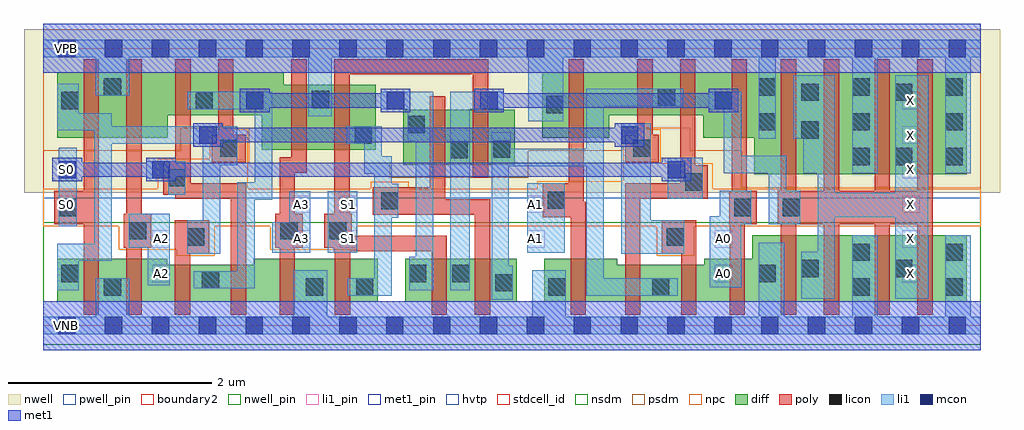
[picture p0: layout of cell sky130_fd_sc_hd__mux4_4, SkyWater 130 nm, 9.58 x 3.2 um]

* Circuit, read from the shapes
.subckt sky130_fd_sc_hd__mux4_4 A0 A1 A2 A3 S0 S1 VGND VNB VPB VPWR X
XM1 VGND S0 n1 VNB sky130_fd_pr__nfet_01v8 w=0.42 l=0.15
XM2 n2 A2 VGND VNB sky130_fd_pr__nfet_01v8 w=0.42 l=0.15
XM3 n3 n1 n2 VNB sky130_fd_pr__nfet_01v8 w=0.36 l=0.15
XM4 n4 S0 n3 VNB sky130_fd_pr__nfet_01v8 w=0.36 l=0.15
XM5 VGND A3 n4 VNB sky130_fd_pr__nfet_01v8 w=0.42 l=0.15
XM6 n5 S1 VGND VNB sky130_fd_pr__nfet_01v8 w=0.42 l=0.15
XM7 n6 S1 n3 VNB sky130_fd_pr__nfet_01v8 w=0.42 l=0.15
XM8 n7 n5 n6 VNB sky130_fd_pr__nfet_01v8 w=0.42 l=0.15
XM9 n8 A1 VGND VNB sky130_fd_pr__nfet_01v8 w=0.42 l=0.15
XM10 n7 S0 n8 VNB sky130_fd_pr__nfet_01v8 w=0.36 l=0.15
XM11 n9 n1 n7 VNB sky130_fd_pr__nfet_01v8 w=0.36 l=0.15
XM12 VGND A0 n9 VNB sky130_fd_pr__nfet_01v8 w=0.42 l=0.15
XM13 X n6 VGND VNB sky130_fd_pr__nfet_01v8 w=0.65 l=0.15 m=4
XM14 VPWR S0 n1 VPB sky130_fd_pr__pfet_01v8_hvt w=0.64 l=0.15
XM15 n10 A2 VPWR VPB sky130_fd_pr__pfet_01v8_hvt w=0.64 l=0.15
XM16 n3 S0 n10 VPB sky130_fd_pr__pfet_01v8_hvt w=0.42 l=0.15
XM17 n11 n1 n3 VPB sky130_fd_pr__pfet_01v8_hvt w=0.42 l=0.15
XM18 VPWR A3 n11 VPB sky130_fd_pr__pfet_01v8_hvt w=0.64 l=0.15
XM19 n5 S1 VPWR VPB sky130_fd_pr__pfet_01v8_hvt w=0.64 l=0.15
XM20 n6 n5 n3 VPB sky130_fd_pr__pfet_01v8_hvt w=0.54 l=0.15
XM21 n7 S1 n6 VPB sky130_fd_pr__pfet_01v8_hvt w=0.54 l=0.15
XM22 n12 A1 VPWR VPB sky130_fd_pr__pfet_01v8_hvt w=0.64 l=0.15
XM23 n7 n1 n12 VPB sky130_fd_pr__pfet_01v8_hvt w=0.42 l=0.15
XM24 n13 S0 n7 VPB sky130_fd_pr__pfet_01v8_hvt w=0.42 l=0.15
XM25 VPWR A0 n13 VPB sky130_fd_pr__pfet_01v8_hvt w=0.64 l=0.15
XM26 X n6 VPWR VPB sky130_fd_pr__pfet_01v8_hvt w=1 l=0.15 m=4
.ends

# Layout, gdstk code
import gdstk
lib = gdstk.Library(unit=1e-6, precision=1e-09)
def R(c, l, rs):  # rectangles x0, y0, x1, y1
    for r in rs: c.add(gdstk.rectangle(r[:2], r[2:], *l))
def A(c, l, x, y, w, h, nx, ny, dx, dy):  # array of equal rectangles
    R(c, l, [(x+i*dx, y+j*dy, x+i*dx+w, y+j*dy+h) for i in range(nx) for j in range(ny)])
def P(c, l, *ps):  # polygons
    for p in ps: c.add(gdstk.Polygon(p, *l))
nwell_pin = (64, 16)
nwell = (64, 20)
diff = (65, 20)
poly = (66, 20)
licon = (66, 44)
li1_pin = (67, 16)
li1 = (67, 20)
mcon = (67, 44)
met1_pin = (68, 16)
met1 = (68, 20)
hvtp = (78, 44)
stdcell_id = (81, 4)
nsdm = (93, 44)
psdm = (94, 20)
npc = (95, 20)
pwell_pin = (122, 16)
boundary2 = (236, 0)

sky130_fd_sc_hd__mux4_4 = lib.new_cell('sky130_fd_sc_hd__mux4_4')
R(sky130_fd_sc_hd__mux4_4, nwell_pin, [(0.15,2.635,0.32,2.805)])
R(sky130_fd_sc_hd__mux4_4, nwell, [(-0.19,1.305,9.39,2.91)])
R(sky130_fd_sc_hd__mux4_4, diff, [(3.55,0.235,4.645,0.655), (3.535,1.58,4.625,2.12)])
P(sky130_fd_sc_hd__mux4_4, diff, [(3.265,2.365),(2.36,2.365),(2.36,2.485),(0.135,2.485),(0.135,1.845),(1.22,1.845),(1.22,2.065),(2.145,2.065),(2.145,1.725),(3.265,1.725)],
  [(3.28,0.655),(2.065,0.655),(2.065,0.595),(1.215,0.595),(1.215,0.655),(0.135,0.655),(0.135,0.235),(3.28,0.235)],
  [(9.065,2.485),(4.895,2.485),(4.895,1.845),(5.555,1.845),(5.555,2.065),(6.475,2.065),(6.475,1.845),(6.98,1.845),(6.98,1.485),(9.065,1.485)],
  [(9.065,0.885),(6.96,0.885),(6.96,0.655),(6.485,0.655),(6.485,0.595),(5.635,0.595),(5.635,0.655),(4.915,0.655),(4.915,0.235),(9.065,0.235)])
P(sky130_fd_sc_hd__mux4_4, poly, [(8.73,2.615),(8.58,2.615),(8.58,1.325),(8.31,1.325),(8.31,2.615),(8.16,2.615),(8.16,1.325),(7.81,1.325),(7.81,2.615),(7.66,2.615),(7.66,1.325),(7.39,1.325),(7.39,2.615),(7.24,2.615),(7.24,1.325),(7.21,1.325),(7.21,0.995),(7.24,0.995),(7.24,0.105),(7.39,0.105),(7.39,0.995),(7.66,0.995),(7.66,0.105),(7.81,0.105),(7.81,0.995),(8.16,0.995),(8.16,0.105),(8.31,0.105),(8.31,0.995),(8.58,0.995),(8.58,0.105),(8.73,0.105)],
  [(7,1.325),(6.905,1.325),(6.905,2.615),(6.755,2.615),(6.755,1.325),(6.73,1.325),(6.73,0.995),(6.735,0.995),(6.735,0.105),(6.885,0.105),(6.885,0.995),(7,0.995)],
  [(0.545,2.615),(0.395,2.615),(0.395,1.325),(0.105,1.325),(0.105,0.995),(0.395,0.995),(0.395,0.105),(0.545,0.105)],
  [(1.06,1.095),(0.965,1.095),(0.965,2.615),(0.815,2.615),(0.815,1.095),(0.79,1.095),(0.79,0.765),(0.815,0.765),(0.815,0.105),(0.965,0.105),(0.965,0.765),(1.06,0.765)],
  [(1.63,1.035),(1.29,1.035),(1.29,0.105),(1.44,0.105),(1.44,0.705),(1.63,0.705)],
  [(1.985,1.875),(1.865,1.875),(1.865,2.615),(1.715,2.615),(1.715,1.875),(1.655,1.875),(1.655,1.605),(1.985,1.605)],
  [(1.99,1.395),(1.445,1.395),(1.445,2.615),(1.295,2.615),(1.295,1.615),(1.175,1.615),(1.175,1.285),(1.295,1.285),(1.295,1.245),(1.84,1.245),(1.84,0.105),(1.99,0.105)],
  [(2.585,2.615),(2.435,2.615),(2.435,1.65),(2.32,1.65),(2.32,1.095),(2.275,1.095),(2.275,0.765),(2.32,0.765),(2.32,0.105),(2.47,0.105),(2.47,0.765),(2.545,0.765),(2.545,1.095),(2.47,1.095),(2.47,1.5),(2.585,1.5)],
  [(4.365,2.615),(2.855,2.615),(2.855,1.095),(2.755,1.095),(2.755,0.765),(2.85,0.765),(2.85,0.73),(2.86,0.73),(2.86,0.105),(3.01,0.105),(3.01,0.73),(3.81,0.73),(3.81,0.105),(3.96,0.105),(3.96,0.88),(3.025,0.88),(3.025,1.095),(3.005,1.095),(3.005,2.465),(4.215,2.465),(4.215,1.45),(4.365,1.45)],
  [(4.385,1.24),(3.945,1.24),(3.945,2.25),(3.795,2.25),(3.795,1.36),(3.235,1.36),(3.235,1.09),(4.235,1.09),(4.235,0.105),(4.385,0.105)],
  [(5.325,1.215),(5.305,1.215),(5.305,2.615),(5.155,2.615),(5.155,1.395),(4.9,1.395),(4.9,1.065),(5.175,1.065),(5.175,0.105),(5.325,0.105)],
  [(6.04,1.875),(5.98,1.875),(5.98,2.615),(5.83,2.615),(5.83,1.875),(5.71,1.875),(5.71,1.605),(6.04,1.605)],
  [(6.41,1.035),(6.07,1.035),(6.07,0.705),(6.26,0.705),(6.26,0.105),(6.41,0.105)],
  [(6.52,1.575),(6.4,1.575),(6.4,2.615),(6.25,2.615),(6.25,1.395),(5.71,1.395),(5.71,0.105),(5.86,0.105),(5.86,1.245),(6.52,1.245)])
A(sky130_fd_sc_hd__mux4_4, licon, 7.94, 1.575, 0.17, 0.17, 1, 3, 0, 0.34)
A(sky130_fd_sc_hd__mux4_4, licon, 8.855, 1.575, 0.17, 0.17, 1, 3, 0, 0.34)
R(sky130_fd_sc_hd__mux4_4, licon, [(0.595,0.295,0.765,0.465), (2.575,0.295,2.745,0.465), (3.07,0.295,3.24,0.465), (4.955,0.295,5.125,0.465), (5.975,0.295,6.145,0.465), (7.94,0.295,8.11,0.465), (8.855,0.295,9.025,0.465), (4.435,0.335,4.605,0.505), (1.555,0.365,1.725,0.535), (0.175,0.425,0.345,0.595), (3.59,0.425,3.76,0.595), (4.015,0.425,4.185,0.595), (7.02,0.425,7.19,0.595), (7.44,0.475,7.61,0.645), (8.36,0.475,8.53,0.645), (7.94,0.635,8.11,0.805), (8.855,0.635,9.025,0.805), (1.41,0.785,1.58,0.955), (6.12,0.785,6.29,0.955), (0.84,0.845,1.01,1.015), (2.325,0.845,2.495,1.015), (2.805,0.845,2.975,1.015), (0.16,1.075,0.33,1.245), (6.78,1.075,6.95,1.245), (7.26,1.075,7.43,1.245), (3.315,1.14,3.485,1.31), (4.95,1.145,5.12,1.315), (6.3,1.325,6.47,1.495), (1.225,1.365,1.395,1.535), (8.36,1.575,8.53,1.745), (3.995,1.64,4.165,1.81), (4.415,1.645,4.585,1.815), (1.735,1.655,1.905,1.825), (5.79,1.655,5.96,1.825), (3.055,1.785,3.225,1.955), (7.44,1.835,7.61,2.005), (3.575,1.89,3.745,2.06), (7.02,1.915,7.19,2.085), (4.935,2.085,5.105,2.255), (0.175,2.125,0.345,2.295), (1.495,2.125,1.665,2.295), (2.635,2.135,2.805,2.305), (6.03,2.155,6.2,2.325), (7.44,2.205,7.61,2.375), (8.36,2.205,8.53,2.375), (0.595,2.255,0.765,2.425), (7.02,2.255,7.19,2.425)])
A(sky130_fd_sc_hd__mux4_4, li1_pin, 2.91, 0.765, 0.17, 0.17, 4, 1, 1.84, 0)
A(sky130_fd_sc_hd__mux4_4, li1_pin, 8.43, 1.105, 0.17, 0.17, 1, 4, 0, 0.34)
R(sky130_fd_sc_hd__mux4_4, li1_pin, [(1.07,0.425,1.24,0.595), (6.59,0.425,6.76,0.595), (8.43,0.425,8.6,0.595), (1.07,0.765,1.24,0.935), (2.45,0.765,2.62,0.935), (0.15,1.105,0.32,1.275), (2.45,1.105,2.62,1.275), (2.91,1.105,3.08,1.275), (4.75,1.105,4.92,1.275), (0.15,1.445,0.32,1.615)])
R(sky130_fd_sc_hd__mux4_4, li1, [(2.79,0.715,3.08,1.32), (4.75,0.715,5.12,1.395), (0.15,0.975,0.33,1.745), (6.13,1.245,6.47,1.645)])
P(sky130_fd_sc_hd__mux4_4, li1, [(6.29,1.035),(5.96,1.035),(5.96,1.985),(5.67,1.985),(5.67,0.705),(6.29,0.705)],
  [(1.395,1.615),(1.01,1.615),(1.01,1.445),(1.225,1.445),(1.225,1.285),(1.395,1.285)],
  [(6.95,1.325),(6.64,1.325),(6.64,1.075),(6.54,1.075),(6.54,0.375),(6.85,0.375),(6.85,0.995),(6.95,0.995)],
  [(8.685,2.455),(8.36,2.455),(8.36,1.305),(7.77,1.305),(7.77,2.455),(7.36,2.455),(7.36,1.835),(7.46,1.835),(7.46,1.495),(7.6,1.495),(7.6,0.725),(7.44,0.725),(7.44,0.265),(7.77,0.265),(7.77,1.065),(8.36,1.065),(8.36,0.265),(8.685,0.265)],
  [(9.2,2.805),(0,2.805),(0,2.635),(0.515,2.635),(0.515,2.255),(0.845,2.255),(0.845,2.635),(2.6,2.635),(2.6,2.055),(2.83,2.055),(2.83,2.635),(4.76,2.635),(4.76,2.005),(5.105,2.005),(5.105,2.635),(7.02,2.635),(7.02,1.835),(7.19,1.835),(7.19,2.635),(7.94,2.635),(7.94,1.495),(8.19,1.495),(8.19,2.635),(8.855,2.635),(8.855,1.495),(9.105,1.495),(9.105,2.635),(9.2,2.635)],
  [(9.2,0.085),(9.105,0.085),(9.105,0.885),(8.855,0.885),(8.855,0.085),(8.19,0.085),(8.19,0.885),(7.94,0.885),(7.94,0.085),(7.27,0.085),(7.27,0.815),(7.02,0.815),(7.02,0.085),(5.13,0.085),(5.13,0.545),(4.8,0.545),(4.8,0.085),(2.785,0.085),(2.785,0.545),(2.455,0.545),(2.455,0.085),(0.845,0.085),(0.845,0.465),(0.515,0.465),(0.515,0.085),(0,0.085),(0,-0.085),(9.2,-0.085)],
  [(7.43,1.325),(7.29,1.325),(7.29,1.665),(6.85,1.665),(6.85,2.295),(6.53,2.295),(6.53,2.125),(6.68,2.125),(6.68,1.495),(7.12,1.495),(7.12,0.995),(7.43,0.995)],
  [(1.905,1.955),(0.67,1.955),(0.67,2.085),(0.345,2.085),(0.345,2.375),(0.135,2.375),(0.135,1.915),(0.5,1.915),(0.5,0.805),(0.135,0.805),(0.135,0.345),(0.345,0.345),(0.345,0.635),(0.67,0.635),(0.67,1.785),(1.565,1.785),(1.565,1.035),(1.41,1.035),(1.41,0.705),(1.735,0.705),(1.735,1.575),(1.905,1.575)],
  [(2.245,2.295),(1.415,2.295),(1.415,2.125),(2.075,2.125),(2.075,1.405),(1.905,1.405),(1.905,0.535),(1.475,0.535),(1.475,0.365),(2.075,0.365),(2.075,1.235),(2.245,1.235)],
  [(1.24,1.095),(0.84,1.095),(0.84,0.765),(1.025,0.765),(1.025,0.395),(1.24,0.395)],
  [(6.28,2.325),(5.33,2.325),(5.33,1.735),(4.59,1.735),(4.59,1.895),(4.4,1.895),(4.4,0.255),(4.605,0.255),(4.605,0.585),(4.57,0.585),(4.57,1.565),(5.33,1.565),(5.33,0.295),(6.225,0.295),(6.225,0.465),(5.5,0.465),(5.5,2.155),(6.28,2.155)],
  [(2.62,1.32),(2.415,1.32),(2.415,1.015),(2.245,1.015),(2.245,0.715),(2.62,0.715)],
  [(3.485,1.39),(3.42,1.39),(3.42,1.66),(3.32,1.66),(3.32,1.955),(2.975,1.955),(2.975,1.785),(3.15,1.785),(3.15,1.49),(3.25,1.49),(3.25,0.465),(2.99,0.465),(2.99,0.295),(3.42,0.295),(3.42,1.06),(3.485,1.06)],
  [(3.825,2.295),(3.31,2.295),(3.31,2.125),(3.575,2.125),(3.575,1.81),(3.655,1.81),(3.655,0.675),(3.59,0.675),(3.59,0.345),(3.825,0.345)],
  [(4.52,2.295),(3.995,2.295),(3.995,0.345),(4.185,0.345),(4.185,2.125),(4.52,2.125)])
A(sky130_fd_sc_hd__mux4_4, mcon, 0.145, -0.085, 0.17, 0.17, 20, 2, 0.46, 2.72)
R(sky130_fd_sc_hd__mux4_4, mcon, [(0.15,1.445,0.32,1.615), (1.07,1.445,1.24,1.615), (6.13,1.445,6.3,1.615), (1.53,1.785,1.7,1.955), (5.67,1.785,5.84,1.955), (1.99,2.125,2.16,2.295), (3.37,2.125,3.54,2.295), (4.29,2.125,4.46,2.295), (6.59,2.125,6.76,2.295)])
R(sky130_fd_sc_hd__mux4_4, met1_pin, [(0.15,-0.085,0.32,0.085), (0.15,2.635,0.32,2.805)])
P(sky130_fd_sc_hd__mux4_4, met1, [(3.6,2.325),(3.31,2.325),(3.31,2.28),(2.22,2.28),(2.22,2.325),(1.93,2.325),(1.93,2.095),(2.22,2.095),(2.22,2.14),(3.31,2.14),(3.31,2.095),(3.6,2.095)],
  [(5.9,1.985),(5.61,1.985),(5.61,1.94),(1.76,1.94),(1.76,1.985),(1.47,1.985),(1.47,1.755),(1.76,1.755),(1.76,1.8),(5.61,1.8),(5.61,1.755),(5.9,1.755)],
  [(6.36,1.645),(6.07,1.645),(6.07,1.6),(1.3,1.6),(1.3,1.645),(1.01,1.645),(1.01,1.6),(0.38,1.6),(0.38,1.645),(0.085,1.645),(0.085,1.415),(0.38,1.415),(0.38,1.46),(1.01,1.46),(1.01,1.415),(1.3,1.415),(1.3,1.46),(6.07,1.46),(6.07,1.415),(6.36,1.415)],
  [(6.82,2.325),(6.53,2.325),(6.53,2.28),(4.52,2.28),(4.52,2.325),(4.23,2.325),(4.23,2.095),(4.52,2.095),(4.52,2.14),(6.53,2.14),(6.53,2.095),(6.82,2.095)])
R(sky130_fd_sc_hd__mux4_4, hvtp, [(0,1.25,9.2,2.72)])
R(sky130_fd_sc_hd__mux4_4, stdcell_id, [(0,0,9.2,2.72)])
R(sky130_fd_sc_hd__mux4_4, nsdm, [(0,-0.19,9.2,1.015)])
P(sky130_fd_sc_hd__mux4_4, psdm, [(9.2,2.91),(0,2.91),(0,1.715),(1.35,1.715),(1.35,1.935),(2.015,1.935),(2.015,1.595),(3.4,1.595),(3.4,1.45),(4.76,1.45),(4.76,1.715),(5.68,1.715),(5.68,1.935),(6.345,1.935),(6.345,1.715),(6.85,1.715),(6.85,1.355),(9.2,1.355)])
P(sky130_fd_sc_hd__mux4_4, npc, [(9.2,1.345),(6.57,1.345),(6.57,1.595),(6.06,1.595),(6.06,1.925),(5.69,1.925),(5.69,1.415),(4.85,1.415),(4.85,1.345),(3.585,1.345),(3.585,1.41),(3.215,1.41),(3.215,1.345),(2.005,1.345),(2.005,1.925),(1.635,1.925),(1.635,1.635),(1.125,1.635),(1.125,1.345),(0,1.345),(0,0.975),(0.74,0.975),(0.74,0.745),(1.31,0.745),(1.31,0.685),(1.68,0.685),(1.68,0.975),(2.225,0.975),(2.225,0.745),(3.075,0.745),(3.075,0.975),(6.02,0.975),(6.02,0.685),(6.39,0.685),(6.39,0.975),(9.2,0.975)])
R(sky130_fd_sc_hd__mux4_4, pwell_pin, [(0.15,-0.085,0.32,0.085)])
R(sky130_fd_sc_hd__mux4_4, boundary2, [(0,0,9.2,2.72)])
sky130_fd_sc_hd__mux4_4.add(gdstk.FlexPath([(0,0),(9.2,0)], 0.48, ends="flush", simple_path=True, layer=68, datatype=20))  # met1
sky130_fd_sc_hd__mux4_4.add(gdstk.FlexPath([(0,2.72),(9.2,2.72)], 0.48, ends="flush", simple_path=True, layer=68, datatype=20))  # met1
sky130_fd_sc_hd__mux4_4.add(gdstk.Label('VNB', (0.23,0), layer=64, texttype=59))
sky130_fd_sc_hd__mux4_4.add(gdstk.Label('VPB', (0.23,2.72), layer=64, texttype=5))
sky130_fd_sc_hd__mux4_4.add(gdstk.Label('VGND', (0.23,0), layer=68, texttype=5))
sky130_fd_sc_hd__mux4_4.add(gdstk.Label('VPWR', (0.23,2.72), layer=68, texttype=5))
sky130_fd_sc_hd__mux4_4.add(gdstk.Label('X', (8.515,0.51), layer=67, texttype=5))
sky130_fd_sc_hd__mux4_4.add(gdstk.Label('X', (8.515,0.85), layer=67, texttype=5))
sky130_fd_sc_hd__mux4_4.add(gdstk.Label('X', (8.515,1.19), layer=67, texttype=5))
sky130_fd_sc_hd__mux4_4.add(gdstk.Label('X', (8.515,1.53), layer=67, texttype=5))
sky130_fd_sc_hd__mux4_4.add(gdstk.Label('X', (8.515,1.87), layer=67, texttype=5))
sky130_fd_sc_hd__mux4_4.add(gdstk.Label('X', (8.515,2.21), layer=67, texttype=5))
sky130_fd_sc_hd__mux4_4.add(gdstk.Label('S0', (0.23,1.19), layer=67, texttype=5))
sky130_fd_sc_hd__mux4_4.add(gdstk.Label('S0', (0.23,1.53), layer=67, texttype=5))
sky130_fd_sc_hd__mux4_4.add(gdstk.Label('A2', (1.155,0.85), layer=67, texttype=5))
sky130_fd_sc_hd__mux4_4.add(gdstk.Label('A2', (1.155,0.51), layer=67, texttype=5))
sky130_fd_sc_hd__mux4_4.add(gdstk.Label('A3', (2.535,0.85), layer=67, texttype=5))
sky130_fd_sc_hd__mux4_4.add(gdstk.Label('A3', (2.535,1.19), layer=67, texttype=5))
sky130_fd_sc_hd__mux4_4.add(gdstk.Label('S1', (2.995,1.19), layer=67, texttype=5))
sky130_fd_sc_hd__mux4_4.add(gdstk.Label('S1', (2.995,0.85), layer=67, texttype=5))
sky130_fd_sc_hd__mux4_4.add(gdstk.Label('A1', (4.835,1.19), layer=67, texttype=5))
sky130_fd_sc_hd__mux4_4.add(gdstk.Label('A1', (4.835,0.85), layer=67, texttype=5))
sky130_fd_sc_hd__mux4_4.add(gdstk.Label('A0', (6.675,0.85), layer=67, texttype=5))
sky130_fd_sc_hd__mux4_4.add(gdstk.Label('A0', (6.675,0.51), layer=67, texttype=5))
sky130_fd_sc_hd__mux4_4.add(gdstk.Label('mux4_4', (0,0), layer=83, texttype=44))

lib.write_gds('sky130_fd_sc_hd__mux4_4.gds')
